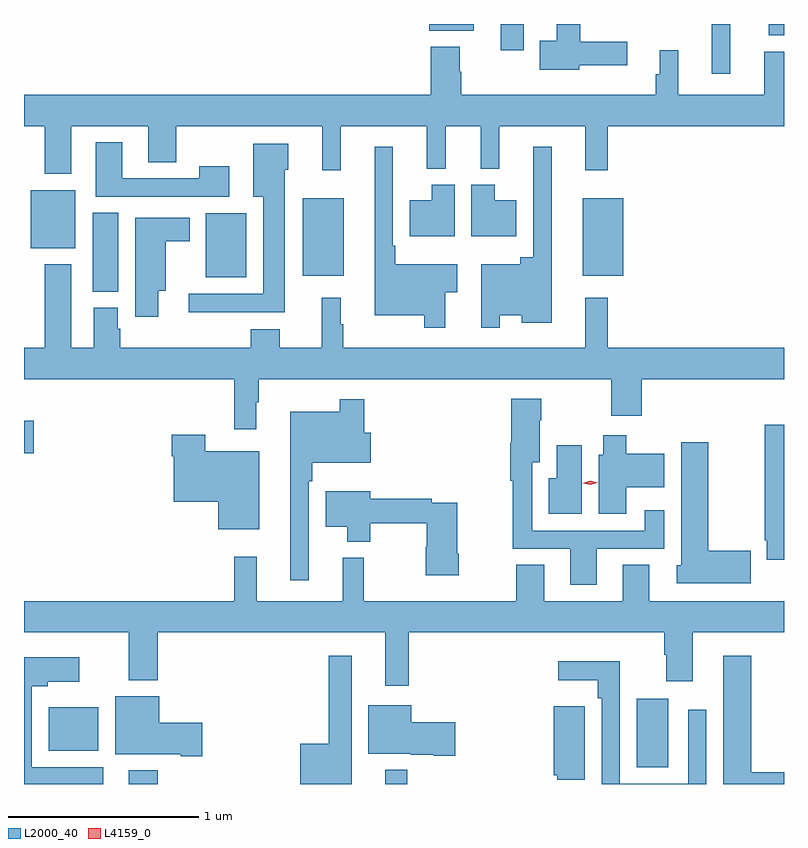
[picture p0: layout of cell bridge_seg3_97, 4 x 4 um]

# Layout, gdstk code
import gdstk
lib = gdstk.Library(unit=1e-6, precision=1e-09)
def R(c, l, rs):  # rectangles x0, y0, x1, y1
    for r in rs: c.add(gdstk.rectangle(r[:2], r[2:], *l))
def P(c, l, *ps):  # polygons
    for p in ps: c.add(gdstk.Polygon(p, *l))
L2000_40 = (2000, 40)
L4159_0 = (4159, 0)

bridge_seg3_97 = lib.new_cell('bridge_seg3_97')
R(bridge_seg3_97, L2000_40, [(493.445,722.761,493.598,722.833), (494.795,722.761,494.909,722.836), (496.118,722.848,496.285,723.211), (493.022,722.936,493.285,723.166), (492.893,724.502,492.943,724.672), (493.256,725.353,493.39,725.768), (493.85,725.429,494.062,725.764), (494.36,725.435,494.575,725.845), (495.833,725.435,496.048,725.845), (492.929,725.582,493.162,725.887), (496.514,726.498,496.611,726.761), (495.401,726.624,495.523,726.761), (496.814,726.701,496.893,726.761), (495.026,726.725,495.259,726.761)])
P(bridge_seg3_97, L2000_40, [(495.816,726.545),(496.069,726.545),(496.069,726.667),(495.82,726.667),(495.82,726.761),(495.698,726.761),(495.698,726.673),(495.608,726.673),(495.608,726.521),(495.816,726.521)],
  [(495.195,726.509),(495.187,726.509),(495.187,726.64),(495.035,726.64),(495.035,726.388),(492.893,726.388),(492.893,726.224),(493.001,726.224),(493.001,725.972),(493.141,725.972),(493.141,726.224),(493.547,726.224),(493.547,726.034),(493.695,726.034),(493.695,726.224),(494.462,726.224),(494.462,725.991),(494.561,725.991),(494.561,726.224),(495.014,726.224),(495.014,725.999),(495.113,725.999),(495.113,726.224),(495.296,726.224),(495.296,725.999),(495.395,725.999),(495.395,726.224),(495.848,726.224),(495.848,725.991),(495.965,725.991),(495.965,726.224),(496.893,726.224),(496.893,726.616),(496.79,726.616),(496.79,726.388),(496.337,726.388),(496.337,726.622),(496.238,726.622),(496.238,726.497),(496.219,726.497),(496.219,726.388),(495.195,726.388)],
  [(493.972,726.013),(493.816,726.013),(493.816,725.949),(493.411,725.949),(493.411,726.139),(493.271,726.139),(493.271,725.853),(493.972,725.853)],
  [(494.266,725.994),(494.284,725.994),(494.284,726.13),(494.099,726.13),(494.099,725.852),(494.153,725.852),(494.153,725.34),(493.761,725.34),(493.761,725.243),(494.266,725.243)],
  [(495.396,725.228),(495.512,725.228),(495.512,725.189),(495.67,725.189),(495.67,726.115),(495.573,726.115),(495.573,725.533),(495.505,725.533),(495.505,725.497),(495.3,725.497),(495.3,725.163),(495.396,725.163)],
  [(495.11,725.35),(495.172,725.35),(495.172,725.497),(494.848,725.497),(494.848,725.593),(494.835,725.593),(494.835,726.115),(494.738,726.115),(494.738,725.228),(495,725.228),(495,725.163),(495.11,725.163)],
  [(495.484,725.833),(495.37,725.833),(495.37,725.914),(495.248,725.914),(495.248,725.645),(495.484,725.645)],
  [(495.16,725.914),(495.038,725.914),(495.038,725.833),(494.924,725.833),(494.924,725.645),(495.16,725.645)],
  [(493.6,725.357),(493.639,725.357),(493.639,725.618),(493.765,725.618),(493.765,725.74),(493.478,725.74),(493.478,725.22),(493.6,725.22)],
  [(494.116,724.769),(494.128,724.769),(494.128,724.892),(495.985,724.892),(495.985,724.698),(496.145,724.698),(496.145,724.892),(496.893,724.892),(496.893,725.056),(495.965,725.056),(495.965,725.32),(495.848,725.32),(495.848,725.056),(494.572,725.056),(494.572,725.18),(494.56,725.18),(494.56,725.32),(494.461,725.32),(494.461,725.056),(494.239,725.056),(494.239,725.155),(494.087,725.155),(494.087,725.056),(493.4,725.056),(493.4,725.157),(493.387,725.157),(493.387,725.268),(493.259,725.268),(493.259,725.056),(493.141,725.056),(493.141,725.497),(493.001,725.497),(493.001,725.056),(492.893,725.056),(492.893,724.892),(493.999,724.892),(493.999,724.629),(494.116,724.629)],
  [(495.907,723.999),(496.264,723.999),(496.264,724.201),(496.16,724.201),(496.16,724.095),(495.567,724.095),(495.567,724.454),(495.607,724.454),(495.607,724.676),(495.615,724.676),(495.615,724.789),(495.458,724.789),(495.458,724.558),(495.451,724.558),(495.451,724.358),(495.466,724.358),(495.466,723.999),(495.767,723.999),(495.767,723.81),(495.907,723.81)],
  [(494.391,724.355),(494.411,724.355),(494.411,724.451),(494.719,724.451),(494.719,724.609),(494.684,724.609),(494.684,724.786),(494.556,724.786),(494.556,724.72),(494.294,724.72),(494.294,723.834),(494.391,723.834)],
  [(496.893,724.651),(496.791,724.651),(496.791,724.045),(496.803,724.045),(496.803,723.941),(496.893,723.941)],
  [(494.131,724.513),(493.848,724.513),(493.848,724.6),(493.67,724.6),(493.67,724.487),(493.682,724.487),(493.682,724.247),(493.916,724.247),(493.916,724.103),(494.131,724.103)],
  [(496.063,724.322),(496.264,724.322),(496.264,724.498),(496.063,724.498),(496.063,724.597),(495.941,724.597),(495.941,724.494),(495.917,724.494),(495.917,724.184),(496.063,724.184)],
  [(496.717,723.989),(496.494,723.989),(496.494,724.561),(496.352,724.561),(496.352,723.912),(496.328,723.912),(496.328,723.818),(496.717,723.818)],
  [(495.829,724.543),(495.698,724.543),(495.698,724.369),(495.656,724.369),(495.656,724.184),(495.829,724.184)],
  [(495.18,723.973),(495.172,723.973),(495.172,724.242),(495.038,724.242),(495.038,724.262),(494.716,724.262),(494.716,724.303),(494.48,724.303),(494.48,724.115),(494.594,724.115),(494.594,724.037),(494.716,724.037),(494.716,724.134),(495.014,724.134),(495.014,724.011),(495.007,724.011),(495.007,723.861),(495.18,723.861)],
  [(494.795,723.279),(494.917,723.279),(494.917,723.56),(496.262,723.56),(496.262,723.44),(496.274,723.44),(496.274,723.303),(496.414,723.303),(496.414,723.56),(496.893,723.56),(496.893,723.724),(496.183,723.724),(496.183,723.914),(496.043,723.914),(496.043,723.724),(495.631,723.724),(495.631,723.914),(495.484,723.914),(495.484,723.724),(494.68,723.724),(494.68,723.952),(494.57,723.952),(494.57,723.724),(494.117,723.724),(494.117,723.958),(493.999,723.958),(493.999,723.724),(492.893,723.724),(492.893,723.56),(493.445,723.56),(493.445,723.308),(493.598,723.308),(493.598,723.56),(494.795,723.56)],
  [(494.617,723.436),(494.496,723.436),(494.496,722.974),(494.348,722.974),(494.348,722.761),(494.617,722.761)],
  [(496.893,722.822),(496.721,722.822),(496.721,723.436),(496.574,723.436),(496.574,722.761),(496.893,722.761)],
  [(493.309,722.848),(492.934,722.848),(492.934,723.275),(493.017,723.275),(493.017,723.299),(493.183,723.299),(493.183,723.427),(492.893,723.427),(492.893,722.761),(493.309,722.761)],
  [(496.485,723.151),(496.389,723.151),(496.389,722.763),(496.029,722.763),(496.029,723.406),(495.705,723.406),(495.705,723.308),(495.913,723.308),(495.913,723.212),(495.933,723.212),(495.933,722.761),(496.485,722.761)],
  [(493.831,723.084),(493.606,723.084),(493.606,723.223),(493.373,723.223),(493.373,722.918),(493.718,722.918),(493.718,722.906),(493.831,722.906)],
  [(495.163,723.087),(494.932,723.087),(494.932,723.175),(494.705,723.175),(494.705,722.921),(494.928,722.921),(494.928,722.915),(495.05,722.915),(495.05,722.909),(495.163,722.909)],
  [(495.844,723.169),(495.68,723.169),(495.68,722.808),(495.699,722.808),(495.699,722.783),(495.844,722.783)])
P(bridge_seg3_97, L4159_0, [(495.873,724.336),(495.833,724.345),(495.832,724.345),(495.833,724.345),(495.872,724.356),(495.912,724.347),(495.913,724.346),(495.912,724.346)])

lib.write_gds('bridge_seg3_97.gds')
